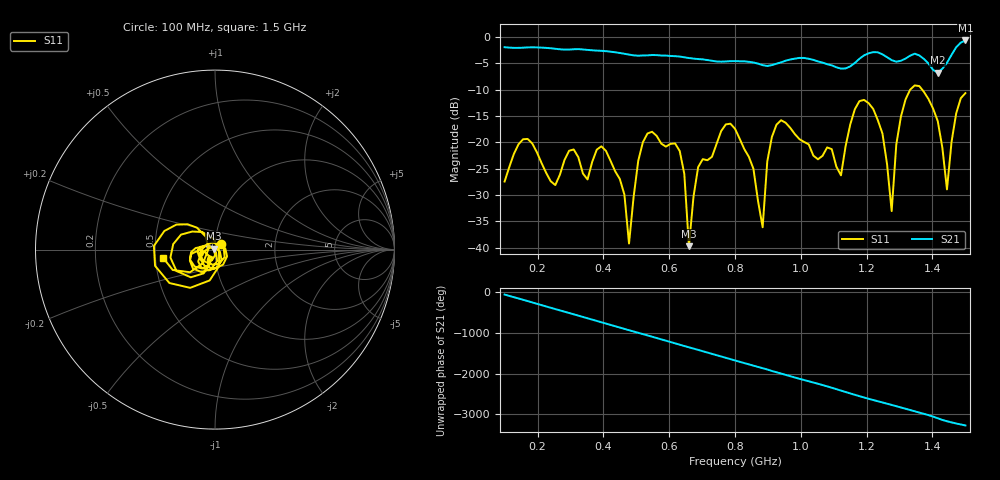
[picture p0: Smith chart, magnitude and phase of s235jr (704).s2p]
! NanoVNA-App
! Date: 2025-09-25 15:09:39
! Start: 100MHz Stop: 1,5GHz Points: 101
! S-Parameter data: F S11 S21 S12 S22
# Hz S RI R 50
!  Frequency  S11_Real  S11_Imag  S21_Real  S21_Imag  S12_Real  S12_Imag  S22_Real  S22_Imag
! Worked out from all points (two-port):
!   101 points, 100 MHz to 1.5 GHz, reference 50 ohm
!   highest |S21| = -0.68 dB at 1.5 GHz (marker M1); lowest = -6.8 dB at 1.416 GHz (marker M2)
!   |S21| within 3 dB of the highest: start of sweep to 620.4 MHz; 1.188 GHz to 1.257 GHz (69 MHz wide, 5.64 % of centre) (the widest 2 of 4)
!   lowest |S11| = -39.7 dB at 660 MHz (marker M3), VSWR 1.02, Z = 49.2 + j0.596 ohm
!   |S11| at or under -10 dB: start of sweep to 1.333 GHz; 1.368 GHz to end of sweep
!   S12 and S22 are empty: the file has one direction only
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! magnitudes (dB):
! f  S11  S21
! 100 MHz  -27.5  -2.0
! 156 MHz  -19.4  -2.1
! 338 MHz  -26.0  -2.4
! 408 MHz  -21.7  -2.7
! 478 MHz  -39.2  -3.4
! 520 MHz  -20.0  -3.5
! 576 MHz  -20.3  -3.5
! 632 MHz  -21.7  -3.7
! 660 MHz  -39.7  -4.0
! 688 MHz  -24.7  -4.2
! 800 MHz  -17.5  -4.6
! 884 MHz  -36.2  -5.4
! 926 MHz  -16.7  -5.1
! 1.038 GHz  -22.5  -4.4
! 1.122 GHz  -26.3  -6.0
! 1.192 GHz  -12.0  -3.5
! 1.248 GHz  -18.3  -3.3
! 1.276 GHz  -33.1  -4.4
! 1.332 GHz  -10.0  -3.6
! 1.416 GHz  -16.0  -6.8
! 1.444 GHz  -29.0  -4.9
! 1.5 GHz  -10.7  -0.7
